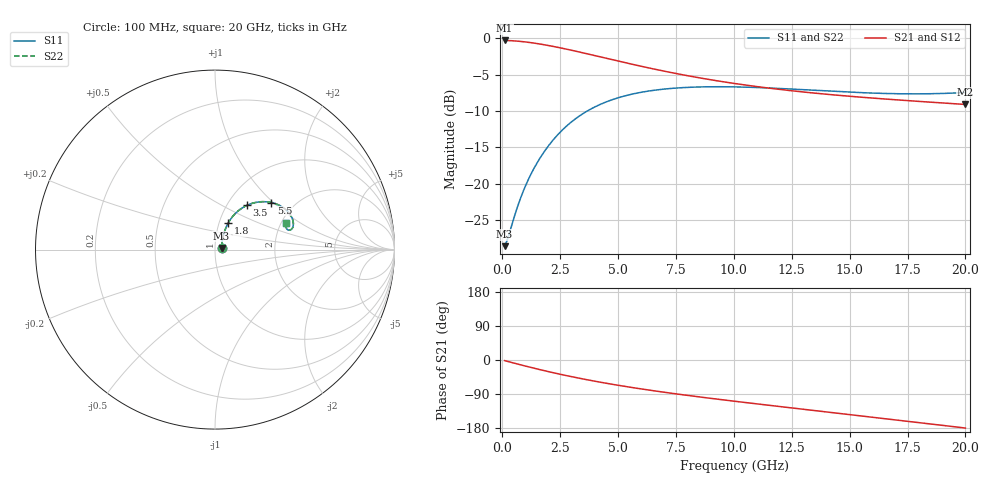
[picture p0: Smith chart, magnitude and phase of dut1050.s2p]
! Touchstone file exported from HFSS 2024.1.0
!  File:  C:/UserFiles/LocalFiles/RDL_TSV_Batchsim/temp_RDL_TSV_1050_1780088206.aedt
!  Generated:  05:15:12 AM May 30, 2026
!  Design:  RDL_TSV
!  Project:  temp_RDL_TSV_1050_1780088206
!  Setup:  Setup1
!  Solution:  Sweep
! Variables:
!  dtsv = 8.19um
!  hbump = 3um
!  htsv = 66.6um
!  ldown = 216.08um
!  lrdl = 455.62um
!  p = 40
!  p1 = 56.37um
!  rhole = 10um
!  subl = 2470.72um
!  t = 450um
!  tdown = 3.1um
!  trdl = 2.06um
!  viad = 10um
!  wdown = 11.29um
!  wrdl = 10.17um
!  xbump = 18um
# GHz S MA R 50.000000
! Terminal data exported
! Port[1] = TM1_1_T1
! Port[2] = TM1_4_T1
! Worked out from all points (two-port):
!   200 points, 100 MHz to 20 GHz, reference 50 ohm
!   highest |S21| = -0.32 dB at 100 MHz (marker M1); lowest = -9.1 dB at 20 GHz (marker M2)
!   |S21| within 3 dB of the highest: start of sweep to 5.242 GHz
!   lowest |S11| = -28.6 dB at 100 MHz (marker M3), VSWR 1.08, Z = 53.8 + j0.93 ohm
!   |S11| at or under -10 dB: start of sweep to 3.673 GHz
!   |S22| runs from -28.6 to -6.7 dB; largest |S21 - S12| = 9.1e-15
!   S11 on the Smith chart (normalised r, x): 100 MHz: 1.08, +0.02; 1.8 GHz: 1.11, +0.34; 3.5 GHz: 1.23, +0.67; 5.5 GHz: 1.54, +0.97; 20 GHz: 2.12, +0.77
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0.1  0.03734 13.4  0.9635 -1.6  0.9635 -1.6  0.03734 13.4
! Gamma 0 0 0 0
! Port Impedance 50 0 50 0
0.2  0.04061 25.1  0.9627 -3.3  0.9627 -3.3  0.04061 25.1
0.7  0.07285 54.4  0.9519 -11.3  0.9519 -11.3  0.07284 54.4
1  0.09668 60.2  0.9411 -16.0  0.9411 -16.0  0.09667 60.2
1.4  0.1304 63.2  0.9228 -22.1  0.9228 -22.1  0.1304 63.2
1.8  0.1653 63.6  0.901 -28.0  0.901 -28.0  0.1653 63.6
2.2  0.2004 62.4  0.8769 -33.6  0.8769 -33.6  0.2004 62.4
2.6  0.2346 60.3  0.8513 -39.0  0.8513 -39.0  0.2346 60.4
3  0.2671 57.7  0.8248 -44.1  0.8248 -44.1  0.2672 57.8
3.5  0.3044 54.1  0.7914 -50.2  0.7914 -50.2  0.3045 54.2
4.4  0.3603 47.4  0.7329 -60.4  0.7329 -60.4  0.3604 47.5
5.5  0.409 39.9  0.6675 -71.6  0.6675 -71.6  0.4093 39.9
6.8  0.4435 32.3  0.6018 -83.5  0.6018 -83.5  0.4439 32.4
7.5  0.4542 28.9  0.5716 -89.4  0.5716 -89.4  0.4546 29.0
8.3  0.4611 25.5  0.5412 -95.8  0.5412 -95.8  0.4616 25.6
10.1  0.4625 19.7  0.4863 -109.4  0.4863 -109.4  0.463 19.8
11.7  0.4533 16.5  0.45 -120.8  0.45 -120.8  0.4539 16.5
13.4  0.4391 14.8  0.4205 -132.8  0.4205 -132.8  0.4397 14.8
15  0.4258 14.7  0.3989 -144.0  0.3989 -144.0  0.4265 14.8
16.7  0.4163 16.1  0.3802 -155.9  0.3802 -155.9  0.417 16.1
18.4  0.4151 18.3  0.3642 -168.1  0.3642 -168.1  0.4158 18.4
20  0.423 20.6  0.3505 -179.6  0.3505 -179.6  0.4237 20.7
